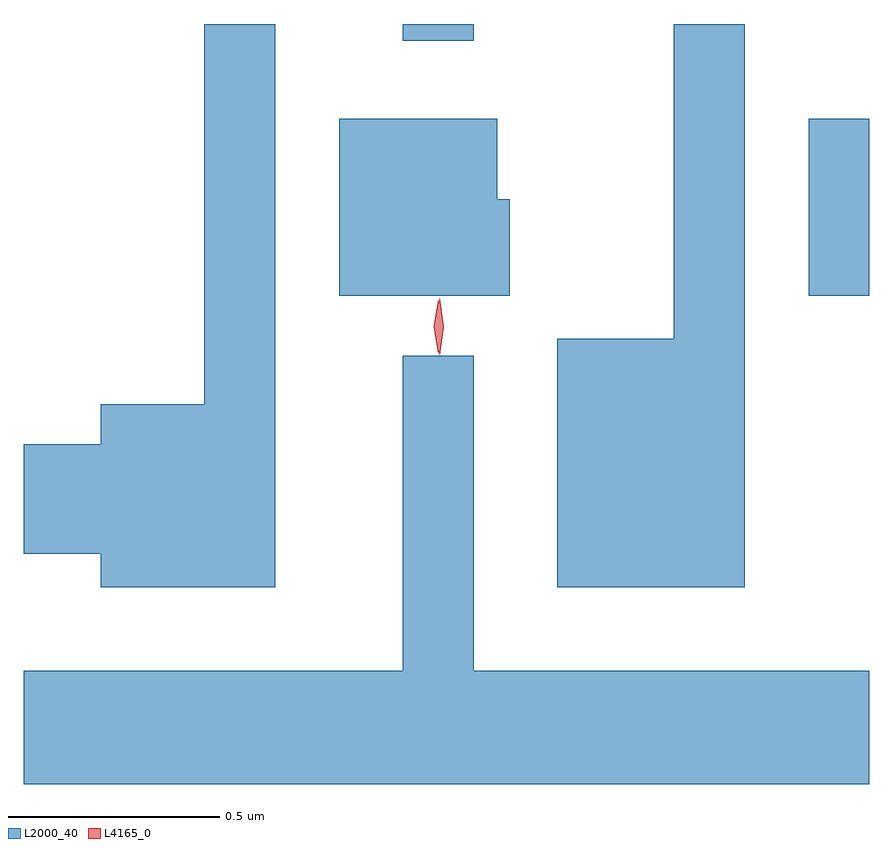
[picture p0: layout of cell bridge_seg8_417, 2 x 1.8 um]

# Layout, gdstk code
import gdstk
lib = gdstk.Library(unit=1e-6, precision=1e-09)
def R(c, l, rs):  # rectangles x0, y0, x1, y1
    for r in rs: c.add(gdstk.rectangle(r[:2], r[2:], *l))
def P(c, l, *ps):  # polygons
    for p in ps: c.add(gdstk.Polygon(p, *l))
L2000_40 = (2000, 40)
L4165_0 = (4165, 0)

bridge_seg8_417 = lib.new_cell('bridge_seg8_417')
R(bridge_seg8_417, L2000_40, [(657.271,1826.471,657.414,1826.889), (656.311,1827.073,656.479,1827.113)])
P(bridge_seg8_417, L2000_40, [(656.009,1827.113),(655.841,1827.113),(655.841,1826.214),(655.596,1826.214),(655.596,1826.119),(655.414,1826.119),(655.414,1825.861),(655.596,1825.861),(655.596,1825.781),(656.009,1825.781)],
  [(657.119,1827.113),(656.951,1827.113),(656.951,1826.369),(656.676,1826.369),(656.676,1825.781),(657.119,1825.781)],
  [(656.564,1826.699),(656.534,1826.699),(656.534,1826.889),(656.161,1826.889),(656.161,1826.471),(656.564,1826.471)],
  [(657.414,1825.584),(656.479,1825.584),(656.479,1826.328),(656.311,1826.328),(656.311,1825.584),(655.414,1825.584),(655.414,1825.316),(657.414,1825.316)])
P(bridge_seg8_417, L4165_0, [(656.394,1826.333),(656.384,1826.397),(656.394,1826.461),(656.394,1826.461),(656.394,1826.461),(656.404,1826.397),(656.395,1826.333),(656.395,1826.333)],
  [(656.398,1826.329),(656.398,1826.33),(656.388,1826.397),(656.398,1826.465),(656.398,1826.466),(656.398,1826.465),(656.408,1826.397),(656.398,1826.33)])

lib.write_gds('bridge_seg8_417.gds')
